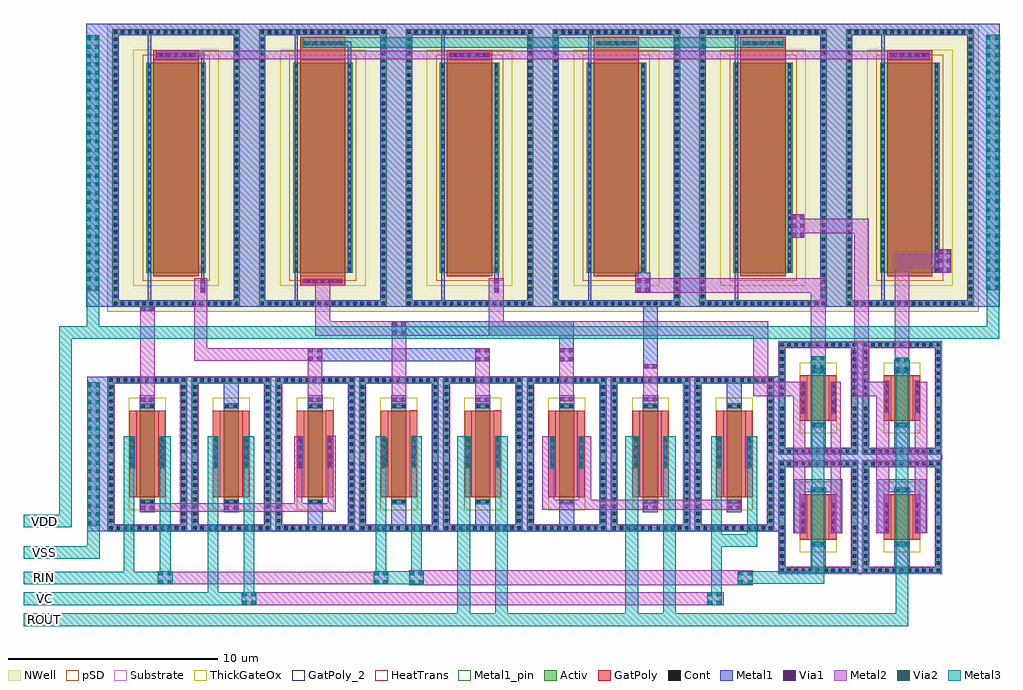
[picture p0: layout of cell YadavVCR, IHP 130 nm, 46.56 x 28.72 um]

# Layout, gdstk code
from math import pi, radians
import gdstk
lib = gdstk.Library(unit=1e-6, precision=1e-09)
def R(c, l, rs):  # rectangles x0, y0, x1, y1
    for r in rs: c.add(gdstk.rectangle(r[:2], r[2:], *l))
def A(c, l, x, y, w, h, nx, ny, dx, dy):  # array of equal rectangles
    R(c, l, [(x+i*dx, y+j*dy, x+i*dx+w, y+j*dy+h) for i in range(nx) for j in range(ny)])
def P(c, l, *ps):  # polygons
    for p in ps: c.add(gdstk.Polygon(p, *l))
Activ = (1, 0)
GatPoly = (5, 0)
GatPoly_2 = (5, 2)
Cont = (6, 0)
Metal1 = (8, 0)
Metal1_pin = (8, 2)
Metal2 = (10, 0)
pSD = (14, 0)
Via1 = (19, 0)
Via2 = (29, 0)
Metal3 = (30, 0)
NWell = (31, 0)
Substrate = (40, 0)
ThickGateOx = (44, 0)
HeatTrans = (51, 0)

pmoshv = lib.new_cell('pmosHV')
R(pmoshv, Activ, [(-1.62,-1.32,-1.32,11.32), (4.16,-1.32,4.46,11.32), (0,0,0.3,0.3), (0,0,2.84,10), (2.54,0,2.84,0.3), (-1.62,11.32,4.46,11.62)])
P(pmoshv, Activ, [(-1.62,-1.62),(-1.62,11.32),(-1.32,11.32),(-1.32,-1.32),(4.16,-1.32),(4.16,11.32),(-1.62,11.32),(-1.62,11.62),(4.46,11.62),(4.46,-1.62)])
R(pmoshv, GatPoly, [(0.34,-0.18,2.5,10.18)])
R(pmoshv, GatPoly_2, [(0.34,-0.18,2.5,10.18)])
A(pmoshv, Cont, -1.55, -1.55, 0.16, 0.16, 18, 2, 0.34, 12.94)
A(pmoshv, Cont, -1.55, -1.21, 0.16, 0.16, 1, 18, 0, 0.34)
A(pmoshv, Cont, 4.23, -1.21, 0.16, 0.16, 1, 18, 0, 0.34)
A(pmoshv, Cont, 0.07, 0.07, 0.16, 0.16, 1, 4, 0, 0.345)
A(pmoshv, Cont, 2.61, 0.07, 0.16, 0.16, 1, 4, 0, 0.345)
A(pmoshv, Cont, 0.07, 1.455, 0.16, 0.16, 1, 3, 0, 0.345)
A(pmoshv, Cont, 2.61, 1.455, 0.16, 0.16, 1, 3, 0, 0.345)
A(pmoshv, Cont, 0.07, 2.495, 0.16, 0.16, 1, 4, 0, 0.345)
A(pmoshv, Cont, 2.61, 2.495, 0.16, 0.16, 1, 4, 0, 0.345)
A(pmoshv, Cont, 0.07, 3.88, 0.16, 0.16, 1, 3, 0, 0.345)
A(pmoshv, Cont, 2.61, 3.88, 0.16, 0.16, 1, 3, 0, 0.345)
A(pmoshv, Cont, 0.07, 4.92, 0.16, 0.16, 1, 4, 0, 0.345)
A(pmoshv, Cont, 2.61, 4.92, 0.16, 0.16, 1, 4, 0, 0.345)
A(pmoshv, Cont, -1.55, 4.93, 0.16, 0.16, 1, 19, 0, 0.34)
A(pmoshv, Cont, 4.23, 4.93, 0.16, 0.16, 1, 19, 0, 0.34)
A(pmoshv, Cont, 0.07, 6.305, 0.16, 0.16, 1, 3, 0, 0.345)
A(pmoshv, Cont, 2.61, 6.305, 0.16, 0.16, 1, 3, 0, 0.345)
A(pmoshv, Cont, 0.07, 7.345, 0.16, 0.16, 1, 4, 0, 0.345)
A(pmoshv, Cont, 2.61, 7.345, 0.16, 0.16, 1, 4, 0, 0.345)
A(pmoshv, Cont, 0.07, 8.73, 0.16, 0.16, 1, 3, 0, 0.345)
A(pmoshv, Cont, 2.61, 8.73, 0.16, 0.16, 1, 3, 0, 0.345)
R(pmoshv, Cont, [(0.07,9.77,0.23,9.93), (2.61,9.77,2.77,9.93)])
R(pmoshv, Metal1, [(-1.62,-1.62,4.46,-1.32), (-1.62,-1.32,-1.32,11.32), (4.16,-1.32,4.46,11.32), (0.07,0,0.23,10), (2.61,0,2.77,10), (-1.62,11.32,4.46,11.62)])
R(pmoshv, Metal1_pin, [(0.07,0,0.23,10), (2.61,0,2.77,10)])
R(pmoshv, pSD, [(-0.18,-0.4,3.02,10.4)])
R(pmoshv, NWell, [(-1.86,-1.86,4.7,11.86), (-0.62,-0.62,3.46,10.62)])
R(pmoshv, Substrate, [(2.54,0,2.84,0.3)])
R(pmoshv, ThickGateOx, [(-0.62,-0.62,3.46,10.62)])
R(pmoshv, HeatTrans, [(0.34,-0.18,2.5,10.18)])
pmoshv.add(gdstk.Label('pmosHV', (1.42,5), layer=63, texttype=0))
pmoshv.add(gdstk.Label('well', (1.42,-1.47), layer=63, texttype=0))
pmoshv.add(gdstk.Label('pmos', (1.42,5), layer=51, texttype=0))

nmoshv = lib.new_cell('nmosHV')
R(nmoshv, Activ, [(-1.27,-1.22,-0.97,1.94), (5.79,-1.22,6.09,1.94), (0,0,0.3,0.3), (0,0,4.82,0.72), (4.52,0,4.82,0.3), (-1.27,1.94,6.09,2.24)])
P(nmoshv, Activ, [(-1.27,-1.52),(-1.27,1.94),(-0.97,1.94),(-0.97,-1.22),(5.79,-1.22),(5.79,1.94),(-1.27,1.94),(-1.27,2.24),(6.09,2.24),(6.09,-1.52)])
R(nmoshv, GatPoly, [(0.34,-0.18,4.48,0.9)])
R(nmoshv, GatPoly_2, [(0.34,-0.18,4.48,0.9)])
A(nmoshv, Cont, -1.2, -1.45, 0.16, 0.16, 10, 2, 0.34, 3.46)
A(nmoshv, Cont, 2.46, -1.45, 0.16, 0.16, 11, 2, 0.34, 3.46)
A(nmoshv, Cont, -1.2, -1.11, 0.16, 0.16, 1, 4, 0, 0.34)
A(nmoshv, Cont, 5.86, -1.11, 0.16, 0.16, 1, 4, 0, 0.34)
A(nmoshv, Cont, -1.2, 0.31, 0.16, 0.16, 1, 5, 0, 0.34)
A(nmoshv, Cont, 5.86, 0.31, 0.16, 0.16, 1, 5, 0, 0.34)
R(nmoshv, Cont, [(0.07,0.07,0.23,0.23), (4.59,0.07,4.75,0.23), (0.07,0.49,0.23,0.65), (4.59,0.49,4.75,0.65)])
R(nmoshv, Metal1, [(-1.27,-1.52,6.09,-1.22), (-1.27,-1.22,-0.97,1.94), (5.79,-1.22,6.09,1.94), (0.07,0,0.23,0.72), (4.59,0,4.75,0.72), (-1.27,1.94,6.09,2.24)])
R(nmoshv, Metal1_pin, [(0.07,0,0.23,0.72), (4.59,0,4.75,0.72)])
R(nmoshv, pSD, [(-1.3,-1.19,-0.94,1.91), (5.76,-1.19,6.12,1.91), (-1.3,1.91,6.12,2.27)])
P(nmoshv, pSD, [(-1.3,-1.55),(-1.3,1.91),(-0.94,1.91),(-0.94,-1.19),(5.76,-1.19),(5.76,1.91),(-1.3,1.91),(-1.3,2.27),(6.12,2.27),(6.12,-1.55)])
R(nmoshv, Substrate, [(-1.3,-1.19,-0.94,1.91), (5.76,-1.19,6.12,1.91), (-1.3,1.91,6.12,2.27)])
P(nmoshv, Substrate, [(-1.3,-1.55),(-1.3,1.91),(-0.94,1.91),(-0.94,-1.19),(5.76,-1.19),(5.76,1.91),(-1.3,1.91),(-1.3,2.27),(6.12,2.27),(6.12,-1.55)])
R(nmoshv, ThickGateOx, [(-0.27,-0.52,5.09,1.24)])
R(nmoshv, HeatTrans, [(0.34,-0.18,4.48,0.9)])
nmoshv.add(gdstk.Label('nmosHV', (2.41,0.36), layer=63, texttype=0))
nmoshv.add(gdstk.Label('sub!', (2.41,-1.37), layer=63, texttype=0))
nmoshv.add(gdstk.Label('nmosHV', (2.41,0.36), layer=51, texttype=0))

via_stack = lib.new_cell('via_stack')
R(via_stack, GatPoly, [(-0.83,-0.15,0.83,0.15)])
A(via_stack, Cont, -0.76, -0.08, 0.16, 0.16, 5, 1, 0.34, 0)
R(via_stack, Metal1, [(-0.965,-0.105,0.965,0.105)])
R(via_stack, Metal2, [(-0.965,-0.1,0.965,0.1)])
A(via_stack, Via1, -0.915, -0.095, 0.19, 0.19, 5, 1, 0.41, 0)

via_stack_1 = lib.new_cell('via_stack$1')
R(via_stack_1, GatPoly, [(-0.83,-0.15,0.83,0.15)])
A(via_stack_1, Cont, -0.76, -0.08, 0.16, 0.16, 5, 1, 0.34, 0)
R(via_stack_1, Metal1, [(-0.965,-0.105,0.965,0.105)])
R(via_stack_1, Metal2, [(-0.965,-0.1,0.965,0.1)])
A(via_stack_1, Via1, -0.915, -0.095, 0.19, 0.19, 5, 1, 0.41, 0)
A(via_stack_1, Via2, -0.915, -0.095, 0.19, 0.19, 5, 1, 0.41, 0)
R(via_stack_1, Metal3, [(-0.965,-0.1,0.965,0.1)])

via_stack_16 = lib.new_cell('via_stack$16')
R(via_stack_16, Metal1, [(-0.31,-6.09,0.31,6.09)])
R(via_stack_16, Metal2, [(-0.305,-6.09,0.305,6.09)])
A(via_stack_16, Via1, -0.3, -6.04, 0.19, 0.19, 1, 30, 0, 0.41)
A(via_stack_16, Via1, 0.11, -6.04, 0.19, 0.19, 1, 30, 0, 0.41)
A(via_stack_16, Via2, -0.3, -6.04, 0.19, 0.19, 1, 30, 0, 0.41)
A(via_stack_16, Via2, 0.11, -6.04, 0.19, 0.19, 1, 30, 0, 0.41)
R(via_stack_16, Metal3, [(-0.305,-6.09,0.305,6.09)])

via_stack_5 = lib.new_cell('via_stack$5')
R(via_stack_5, Metal1, [(-0.31,-3.425,0.31,3.425)])
R(via_stack_5, Metal2, [(-0.305,-3.425,0.305,3.425)])
A(via_stack_5, Via1, -0.3, -3.375, 0.19, 0.19, 1, 17, 0, 0.41)
A(via_stack_5, Via1, 0.11, -3.375, 0.19, 0.19, 1, 17, 0, 0.41)
A(via_stack_5, Via2, -0.3, -3.375, 0.19, 0.19, 1, 17, 0, 0.41)
A(via_stack_5, Via2, 0.11, -3.375, 0.19, 0.19, 1, 17, 0, 0.41)
R(via_stack_5, Metal3, [(-0.305,-3.425,0.305,3.425)])

via_stack_7 = lib.new_cell('via_stack$7')
R(via_stack_7, Metal1, [(-0.35,-0.105,0.35,0.105)])
R(via_stack_7, Metal2, [(-0.35,-0.1,0.35,0.1)])
R(via_stack_7, Via1, [(-0.3,-0.095,-0.11,0.095), (0.11,-0.095,0.3,0.095)])

via_stack_12 = lib.new_cell('via_stack$12')
R(via_stack_12, GatPoly, [(-0.15,-0.66,0.15,0.66)])
A(via_stack_12, Cont, -0.08, -0.59, 0.16, 0.16, 1, 4, 0, 0.34)
R(via_stack_12, Metal1, [(-0.105,-0.76,0.105,0.76)])
R(via_stack_12, Metal2, [(-0.1,-0.76,0.1,0.76)])
A(via_stack_12, Via1, -0.095, -0.71, 0.19, 0.19, 1, 4, 0, 0.41)

via_stack_18 = lib.new_cell('via_stack$18')
R(via_stack_18, Activ, [(-0.15,-0.66,0.15,0.66)])
A(via_stack_18, Cont, -0.08, -0.59, 0.16, 0.16, 1, 4, 0, 0.34)
R(via_stack_18, Metal1, [(-0.105,-0.76,0.105,0.76)])
R(via_stack_18, Metal2, [(-0.1,-0.76,0.1,0.76)])
A(via_stack_18, Via1, -0.095, -0.71, 0.19, 0.19, 1, 4, 0, 0.41)
A(via_stack_18, Via2, -0.095, -0.71, 0.19, 0.19, 1, 4, 0, 0.41)
R(via_stack_18, Metal3, [(-0.1,-0.76,0.1,0.76)])

via_stack_17 = lib.new_cell('via_stack$17')
R(via_stack_17, GatPoly, [(-0.15,-0.66,0.15,0.66)])
A(via_stack_17, Cont, -0.08, -0.59, 0.16, 0.16, 1, 4, 0, 0.34)
R(via_stack_17, Metal1, [(-0.105,-0.76,0.105,0.76)])
R(via_stack_17, Metal2, [(-0.1,-0.76,0.1,0.76)])
A(via_stack_17, Via1, -0.095, -0.71, 0.19, 0.19, 1, 4, 0, 0.41)
A(via_stack_17, Via2, -0.095, -0.71, 0.19, 0.19, 1, 4, 0, 0.41)
R(via_stack_17, Metal3, [(-0.1,-0.76,0.1,0.76)])

via_stack_8 = lib.new_cell('via_stack$8')
R(via_stack_8, Metal1, [(-0.105,-0.76,0.105,0.76)])
R(via_stack_8, Metal2, [(-0.1,-0.76,0.1,0.76)])
A(via_stack_8, Via1, -0.095, -0.71, 0.19, 0.19, 1, 4, 0, 0.41)
A(via_stack_8, Via2, -0.095, -0.71, 0.19, 0.19, 1, 4, 0, 0.41)
R(via_stack_8, Metal3, [(-0.1,-0.76,0.1,0.76)])

via_stack_10 = lib.new_cell('via_stack$10')
R(via_stack_10, Metal2, [(-0.35,-0.305,0.35,0.305)])
R(via_stack_10, Via2, [(-0.3,-0.3,-0.11,-0.11), (0.11,-0.3,0.3,-0.11), (-0.3,0.11,-0.11,0.3), (0.11,0.11,0.3,0.3)])
R(via_stack_10, Metal3, [(-0.35,-0.305,0.35,0.305)])

nmoshv_1 = lib.new_cell('nmosHV$1')
R(nmoshv_1, Activ, [(-1.27,-1.22,-0.97,1.94), (3.81,-1.22,4.11,1.94), (0,0,0.3,0.3), (0,0,2.84,0.72), (2.54,0,2.84,0.3), (-1.27,1.94,4.11,2.24)])
P(nmoshv_1, Activ, [(-1.27,-1.52),(-1.27,1.94),(-0.97,1.94),(-0.97,-1.22),(3.81,-1.22),(3.81,1.94),(-1.27,1.94),(-1.27,2.24),(4.11,2.24),(4.11,-1.52)])
R(nmoshv_1, GatPoly, [(0.34,-0.18,2.5,0.9)])
R(nmoshv_1, GatPoly_2, [(0.34,-0.18,2.5,0.9)])
A(nmoshv_1, Cont, -1.2, -1.45, 0.16, 0.16, 7, 2, 0.34, 3.46)
A(nmoshv_1, Cont, 1.5, -1.45, 0.16, 0.16, 8, 2, 0.34, 3.46)
A(nmoshv_1, Cont, -1.2, -1.11, 0.16, 0.16, 1, 4, 0, 0.34)
A(nmoshv_1, Cont, 3.88, -1.11, 0.16, 0.16, 1, 4, 0, 0.34)
A(nmoshv_1, Cont, -1.2, 0.31, 0.16, 0.16, 1, 5, 0, 0.34)
A(nmoshv_1, Cont, 3.88, 0.31, 0.16, 0.16, 1, 5, 0, 0.34)
R(nmoshv_1, Cont, [(0.07,0.07,0.23,0.23), (2.61,0.07,2.77,0.23), (0.07,0.49,0.23,0.65), (2.61,0.49,2.77,0.65)])
R(nmoshv_1, Metal1, [(-1.27,-1.52,4.11,-1.22), (-1.27,-1.22,-0.97,1.94), (3.81,-1.22,4.11,1.94), (0.07,0,0.23,0.72), (2.61,0,2.77,0.72), (-1.27,1.94,4.11,2.24)])
R(nmoshv_1, Metal1_pin, [(0.07,0,0.23,0.72), (2.61,0,2.77,0.72)])
R(nmoshv_1, pSD, [(-1.3,-1.19,-0.94,1.91), (3.78,-1.19,4.14,1.91), (-1.3,1.91,4.14,2.27)])
P(nmoshv_1, pSD, [(-1.3,-1.55),(-1.3,1.91),(-0.94,1.91),(-0.94,-1.19),(3.78,-1.19),(3.78,1.91),(-1.3,1.91),(-1.3,2.27),(4.14,2.27),(4.14,-1.55)])
R(nmoshv_1, Substrate, [(-1.3,-1.19,-0.94,1.91), (3.78,-1.19,4.14,1.91), (-1.3,1.91,4.14,2.27)])
P(nmoshv_1, Substrate, [(-1.3,-1.55),(-1.3,1.91),(-0.94,1.91),(-0.94,-1.19),(3.78,-1.19),(3.78,1.91),(-1.3,1.91),(-1.3,2.27),(4.14,2.27),(4.14,-1.55)])
R(nmoshv_1, ThickGateOx, [(-0.27,-0.52,3.11,1.24)])
R(nmoshv_1, HeatTrans, [(0.34,-0.18,2.5,0.9)])
nmoshv_1.add(gdstk.Label('nmosHV', (1.42,0.36), layer=63, texttype=0))
nmoshv_1.add(gdstk.Label('sub!', (1.42,-1.37), layer=63, texttype=0))
nmoshv_1.add(gdstk.Label('nmosHV', (1.42,0.36), layer=51, texttype=0))

via_stack_11 = lib.new_cell('via_stack$11')
R(via_stack_11, Metal1, [(-0.35,-0.31,0.35,0.31)])
R(via_stack_11, Metal2, [(-0.35,-0.305,0.35,0.305)])
R(via_stack_11, Via1, [(-0.3,-0.3,-0.11,-0.11), (0.11,-0.3,0.3,-0.11), (-0.3,0.11,-0.11,0.3), (0.11,0.11,0.3,0.3)])

via_stack_15 = lib.new_cell('via_stack$15')
R(via_stack_15, Metal1, [(-0.35,-0.31,0.35,0.31)])
R(via_stack_15, Metal2, [(-0.35,-0.305,0.35,0.305)])
R(via_stack_15, Via1, [(-0.3,-0.3,-0.11,-0.11), (0.11,-0.3,0.3,-0.11), (-0.3,0.11,-0.11,0.3), (0.11,0.11,0.3,0.3)])
R(via_stack_15, Via2, [(-0.3,-0.3,-0.11,-0.11), (0.11,-0.3,0.3,-0.11), (-0.3,0.11,-0.11,0.3), (0.11,0.11,0.3,0.3)])
R(via_stack_15, Metal3, [(-0.35,-0.305,0.35,0.305)])

via_stack_4 = lib.new_cell('via_stack$4')
R(via_stack_4, Metal1, [(-0.105,-0.35,0.105,0.35)])
R(via_stack_4, Metal2, [(-0.1,-0.35,0.1,0.35)])
R(via_stack_4, Via1, [(-0.095,-0.3,0.095,-0.11), (-0.095,0.11,0.095,0.3)])

via_stack_13 = lib.new_cell('via_stack$13')
R(via_stack_13, Metal1, [(-0.31,-0.555,0.31,0.555)])
R(via_stack_13, Metal2, [(-0.305,-0.555,0.305,0.555)])
A(via_stack_13, Via1, -0.3, -0.505, 0.19, 0.19, 1, 3, 0, 0.41)
A(via_stack_13, Via1, 0.11, -0.505, 0.19, 0.19, 1, 3, 0, 0.41)

yadavvcr = lib.new_cell('YadavVCR')
A(yadavvcr, GatPoly, 9.04, -8.86, 0.33, 4.14, 4, 1, 4, 0)
A(yadavvcr, GatPoly, 10.45, -8.85, 0.33, 4.14, 3, 1, 4, 0)
R(yadavvcr, GatPoly, [(33.04,-10.88,33.37,-8.72), (34.45,-10.88,34.78,-8.72), (37.04,-10.88,37.37,-8.72), (38.45,-10.88,38.78,-8.72), (1.04,-8.86,1.37,-4.72), (2.45,-8.86,2.78,-4.72), (5.04,-8.86,5.37,-4.72), (6.45,-8.86,6.78,-4.72), (22.45,-8.86,22.78,-4.72), (25.04,-8.86,25.37,-4.72), (26.45,-8.86,26.78,-4.72), (29.04,-8.86,29.37,-4.72), (30.45,-8.86,30.78,-4.72), (33.04,-5.2,33.37,-3.04), (34.45,-5.2,34.78,-3.04), (37.04,-5.2,37.37,-3.04), (38.45,-5.2,38.78,-3.04), (9.2,1.25,11.36,1.68), (2.2,12.04,4.36,12.47), (9.2,12.04,11.36,13.1), (16.2,12.04,18.36,12.47), (23.2,12.04,25.36,13.1), (30.2,12.04,32.36,13.1), (37.2,12.04,39.36,12.47)])
A(yadavvcr, Metal1, 3.79, -10.47, 0.24, 7.36, 8, 1, 4, 0)
A(yadavvcr, Metal1, 9.55, -10.17, 0.72, 1.2, 4, 1, 4, 0)
A(yadavvcr, Metal1, 9.55, -4.61, 0.72, 0.61, 3, 1, 4, 0)
A(yadavvcr, Metal1, 1.93, 0.54, 0.16, 12.64, 6, 1, 7, 0)
A(yadavvcr, Metal1, 6.32, 0.54, 0.92, 12.94, 5, 1, 7, 0)
R(yadavvcr, Metal1, [(35.79,-12.49,36.03,-1.43), (33.55,-12.19,34.27,-10.99), (37.55,-12.19,38.27,-10.99), (32.76,-10.58,33.31,-8), (32.76,-10.58,33.31,-8), (34.51,-10.58,35.06,-8), (34.51,-10.58,35.06,-8), (36.76,-10.58,37.31,-8), (38.51,-10.58,39.06,-8), (-0.97,-10.47,0.03,-3.11), (1.55,-9.58,2.27,-8.97), (5.55,-9.58,6.27,-8.97), (25.54,-9.58,26.26,-8.97), (29.55,-9.58,30.27,-8.97), (33.31,-8.61,33.55,-8), (33.31,-8.61,33.55,-8), (33.55,-8.61,34.27,-8), (34.27,-8.61,34.51,-8), (34.27,-8.61,34.51,-8), (37.31,-8.61,37.55,-8), (37.55,-8.61,38.27,-8), (38.27,-8.61,38.51,-8), (32.03,-7.11,35.79,-6.81), (36.03,-7.11,39.79,-6.81), (33.55,-6.51,34.28,-5.31), (37.55,-6.51,38.27,-5.31), (1.55,-4.61,2.27,-4), (5.55,-4.61,6.27,-3.41), (29.55,-4.61,30.27,-3.41), (21.55,-4.6,22.27,-3.99), (25.55,-4.6,26.27,-3.99), (33.55,-2.93,34.27,-2.32), (37.55,-2.93,38.27,-2.32), (25.56,-2.71,26.26,0.54), (9.56,-2.37,18.25,-1.74), (-1,0.24,0.24,13.48), (0.24,0.24,41.32,0.54), (41.32,0.24,42.56,13.48), (25.195,1.55,25.895,1.86), (18.45,1.59,18.66,1.86), (-1,13.48,42.56,13.72)])
P(yadavvcr, Metal1, [(4.47,11.86),(4.47,12.13),(4.24,12.13),(4.24,12.34),(4.63,12.34),(4.63,11.86)],
  [(11.47,11.86),(11.47,12.695),(11.25,12.695),(11.25,12.905),(11.63,12.905),(11.63,11.86)])
R(yadavvcr, Metal2, [(6.5,-14,29.41,-13.4), (32.73,-10.58,33.305,-3.35), (34.515,-10.58,34.98,-3.35), (36.69,-10.58,37.305,-3.35), (38.51,-10.58,39.125,-3.35), (20.74,-9.45,30.21,-8.98), (20.74,-8.98,21.325,-5.95), (22.5,-8.98,23.085,-5.95), (33.305,-7.41,34.515,-6.51), (37.3,-7.41,38.51,-6.51), (17.55,-4.3,18.25,-2.36), (1.56,-4.295,2.26,0.235), (9.56,-4.295,10.26,-2.355), (21.56,-4.285,22.25,-1.755), (25.56,-4.285,26.26,-2.505)])
P(yadavvcr, Metal2, [(14.21,-4.29),(14.21,-4.29),(14.21,-4.29),(14.21,-4.29)])
A(yadavvcr, pSD, 3.82, -10.5, 0.18, 7.42, 8, 1, 4, 0)
R(yadavvcr, pSD, [(35.82,-12.52,36,-1.4), (32,-7.08,35.82,-6.84), (36,-7.08,39.82,-6.84)])
R(yadavvcr, Metal3, [(0,-15,38.21,-14.4), (16.7,-14.4,17.305,-5.95), (18.5,-14.4,19.105,-5.95), (24.71,-14.4,25.315,-5.95), (26.51,-14.4,27.115,-5.95), (4.79,-13.4,5.295,-5.95), (4.79,-13.4,5.295,-5.95), (6.5,-13.4,7.005,-5.95), (6.5,-13.4,7.005,-5.95), (28.8,-13.4,29.305,-5.95), (12.7,-13,15.1,-12.39), (0.79,-12.4,1.295,-5.95), (2.51,-12.4,3.015,-5.95), (12.8,-12.4,13.305,-5.95), (14.5,-12.4,15.005,-5.95), (29.305,-11.23,30.515,-10.63), (30.515,-11.23,31.015,-5.95)])
R(yadavvcr, NWell, [(0,0,41.56,13.72)])
yadavvcr.add(gdstk.FlexPath([(4.55,1.86),(4.55,1.59)], 0.16, ends="flush", simple_path=True, layer=8, datatype=0))  # Metal1
yadavvcr.add(gdstk.FlexPath([(13.56,-0.8),(21.9,-0.8),(21.9,-2.37),(21.9,-2.37)], 0.7, ends="flush", simple_path=True, layer=8, datatype=0))  # Metal1
yadavvcr.add(gdstk.FlexPath([(2.31,12.235),(39.24,12.235)], 0.4, ends="flush", simple_path=True, layer=10, datatype=0))  # Metal2
yadavvcr.add(gdstk.FlexPath([(1.56,-9.355),(6.26,-9.355)], 0.4, ends="flush", simple_path=True, layer=10, datatype=0))  # Metal2
yadavvcr.add(gdstk.FlexPath([(10.275,1.345),(10.275,-0.8),(14.26,-0.8)], 0.7, ends="flush", simple_path=True, layer=10, datatype=0))  # Metal2
yadavvcr.add(gdstk.FlexPath([(6.26,-9.355),(9.105,-9.355),(9.105,-5.95)], 0.4, ends="flush", simple_path=True, layer=10, datatype=0))  # Metal2
yadavvcr.add(gdstk.FlexPath([(9.305,-9.35),(10.705,-9.35),(10.705,-5.93)], 0.4, ends="flush", simple_path=True, layer=10, datatype=0))  # Metal2
yadavvcr.add(gdstk.FlexPath([(2.41,-12.7),(13.4,-12.7)], 0.6, ends="flush", simple_path=True, layer=10, datatype=0))  # Metal2
yadavvcr.add(gdstk.FlexPath([(18.555,1.59),(18.555,-0.8),(31.17,-0.8),(31.17,-3.7),(33.305,-3.7)], 0.7, ends="flush", simple_path=True, layer=10, datatype=0))  # Metal2
yadavvcr.add(gdstk.FlexPath([(4.455,1.59),(4.455,-2.05),(10.25,-2.05),(10.25,-2.05)], 0.6, ends="flush", simple_path=True, layer=10, datatype=0))  # Metal2
yadavvcr.add(gdstk.FlexPath([(13.91,-4.295),(13.91,-1.15)], 0.7, ends="flush", simple_path=True, layer=10, datatype=0))  # Metal2
yadavvcr.add(gdstk.FlexPath([(14.4,-12.695),(30.78,-12.695)], 0.7, ends="flush", simple_path=True, layer=10, datatype=0))  # Metal2
yadavvcr.add(gdstk.FlexPath([(32.635,4.085),(35.97,4.085),(35.97,-3.69),(37.305,-3.69)], 0.7, ends="flush", simple_path=True, layer=10, datatype=0))  # Metal2
yadavvcr.add(gdstk.FlexPath([(37.91,-2.82),(37.91,2.415),(40.24,2.415)], 0.7, ends="flush", simple_path=True, layer=10, datatype=0))  # Metal2
yadavvcr.add(gdstk.FlexPath([(25.195,1.24),(33.91,1.24),(33.91,-2.735)], 0.7, ends="flush", simple_path=True, layer=10, datatype=0))  # Metal2
yadavvcr.add(gdstk.FlexPath([(0,-13.7),(-4,-13.7)], 0.6, ends="flush", simple_path=True, layer=30, datatype=0))  # Metal3
yadavvcr.add(gdstk.FlexPath([(9.32,12.83),(32.25,12.83)], 0.5, ends="flush", simple_path=True, layer=30, datatype=0))  # Metal3
yadavvcr.add(gdstk.FlexPath([(-0.66,-10.22),(-0.66,-11.5),(-2.5,-11.5)], 0.6, ends="flush", simple_path=True, layer=30, datatype=0))  # Metal3
yadavvcr.add(gdstk.FlexPath([(0,-12.7),(3.11,-12.7),(3.11,-12.7)], 0.6, ends="flush", simple_path=True, layer=30, datatype=0))  # Metal3
yadavvcr.add(gdstk.FlexPath([(0,-13.7),(7.1,-13.7)], 0.6, ends="flush", simple_path=True, layer=30, datatype=0))  # Metal3
yadavvcr.add(gdstk.FlexPath([(-0.69,-1),(42.24,-1),(42.24,1.02)], 0.6, ends="flush", simple_path=True, layer=30, datatype=0))  # Metal3
yadavvcr.add(gdstk.FlexPath([(37.91,-2.82),(37.91,-14.4)], 0.6, ends="flush", simple_path=True, layer=30, datatype=0))  # Metal3
yadavvcr.add(gdstk.FlexPath([(30.08,-12.695),(33.91,-12.695),(33.91,-2.735)], 0.6, ends="flush", simple_path=True, layer=30, datatype=0))  # Metal3
yadavvcr.add(gdstk.FlexPath([(-0.69,1),(-0.69,-1),(-2,-1),(-2,-10),(-4,-10)], 0.6, ends="flush", simple_path=True, layer=30, datatype=0))  # Metal3
yadavvcr.add(gdstk.FlexPath([(-2.5,-11.5),(-4,-11.5),(-4,-11.5)], 0.6, ends="flush", simple_path=True, layer=30, datatype=0))  # Metal3
yadavvcr.add(gdstk.FlexPath([(0,-12.7),(-4,-12.7)], 0.6, ends="flush", simple_path=True, layer=30, datatype=0))  # Metal3
yadavvcr.add(gdstk.FlexPath([(0,-14.7),(-4,-14.7)], 0.6, ends="flush", simple_path=True, layer=30, datatype=0))  # Metal3
yadavvcr.add(gdstk.Reference(pmoshv, (1.86,1.86)))
yadavvcr.add(gdstk.Reference(pmoshv, (8.86,1.86)))
yadavvcr.add(gdstk.Reference(pmoshv, (29.86,1.86)))
yadavvcr.add(gdstk.Reference(pmoshv, (22.86,1.86)))
yadavvcr.add(gdstk.Reference(pmoshv, (15.86,1.86)))
yadavvcr.add(gdstk.Reference(pmoshv, (36.86,1.86)))
yadavvcr.add(gdstk.Reference(nmoshv, (22.27,-9.2), rotation=pi/2))
yadavvcr.add(gdstk.Reference(nmoshv, (18.27,-9.2), rotation=pi/2))
yadavvcr.add(gdstk.Reference(nmoshv, (14.27,-9.2), rotation=pi/2))
yadavvcr.add(gdstk.Reference(nmoshv, (2.27,-9.2), rotation=pi/2))
yadavvcr.add(gdstk.Reference(nmoshv, (6.27,-9.2), rotation=pi/2))
yadavvcr.add(gdstk.Reference(nmoshv, (30.27,-9.2), rotation=pi/2))
yadavvcr.add(gdstk.Reference(via_stack, (17.275,12.235)))
yadavvcr.add(gdstk.Reference(via_stack, (38.275,12.235)))
yadavvcr.add(gdstk.Reference(via_stack_1, (10.285,12.8)))
yadavvcr.add(gdstk.Reference(via_stack, (3.275,12.235)))
yadavvcr.add(gdstk.Reference(via_stack_1, (24.285,12.8)))
yadavvcr.add(gdstk.Reference(via_stack_1, (31.285,12.8)))
yadavvcr.add(gdstk.Reference(via_stack_16, (42.24,7.11)))
yadavvcr.add(gdstk.Reference(via_stack_5, (-0.66,-6.795)))
yadavvcr.add(gdstk.Reference(via_stack_7, (1.91,-4.195)))
yadavvcr.add(gdstk.Reference(via_stack_7, (1.91,0.135)))
yadavvcr.add(gdstk.Reference(via_stack_7, (1.91,-9.355)))
yadavvcr.add(gdstk.Reference(via_stack_7, (5.91,-9.355)))
yadavvcr.add(gdstk.Reference(via_stack_12, (9.205,-6.71)))
yadavvcr.add(gdstk.Reference(nmoshv, (10.27,-9.2), rotation=pi/2))
yadavvcr.add(gdstk.Reference(via_stack_18, (2.605,-6.71)))
yadavvcr.add(gdstk.Reference(via_stack_17, (1.195,-6.71)))
yadavvcr.add(gdstk.Reference(via_stack_8, (6.605,-6.71)))
yadavvcr.add(gdstk.Reference(via_stack_8, (5.195,-6.71)))
yadavvcr.add(gdstk.Reference(via_stack_10, (2.76,-12.7)))
yadavvcr.add(gdstk.Reference(via_stack_17, (5.195,-6.71)))
yadavvcr.add(gdstk.Reference(via_stack_17, (6.605,-6.71)))
yadavvcr.add(gdstk.Reference(via_stack_10, (6.75,-13.685)))
yadavvcr.add(gdstk.Reference(via_stack_7, (9.91,-4.195)))
yadavvcr.add(gdstk.Reference(via_stack_12, (10.605,-6.69)))
yadavvcr.add(gdstk.Reference(via_stack_17, (17.205,-6.71)))
yadavvcr.add(gdstk.Reference(via_stack_17, (18.605,-6.69)))
yadavvcr.add(gdstk.Reference(via_stack_18, (13.205,-6.71)))
yadavvcr.add(gdstk.Reference(via_stack_17, (14.605,-6.69)))
yadavvcr.add(gdstk.Reference(via_stack_10, (13.05,-12.695)))
yadavvcr.add(gdstk.Reference(via_stack, (10.275,1.445)))
yadavvcr.add(gdstk.Reference(nmoshv_1, (38.27,-5.54), rotation=pi/2))
yadavvcr.add(gdstk.Reference(nmoshv_1, (34.27,-5.54), rotation=pi/2))
yadavvcr.add(gdstk.Reference(nmoshv_1, (34.27,-11.22), rotation=pi/2))
yadavvcr.add(gdstk.Reference(nmoshv, (26.27,-9.2), rotation=pi/2))
yadavvcr.add(gdstk.Reference(nmoshv_1, (38.27,-11.22), rotation=pi/2))
yadavvcr.add(gdstk.Reference(via_stack_7, (13.91,-4.195)))
yadavvcr.add(gdstk.Reference(via_stack_7, (17.91,-4.195)))
yadavvcr.add(gdstk.Reference(via_stack_11, (9.91,-2.05)))
yadavvcr.add(gdstk.Reference(via_stack_11, (17.9,-2.06)))
yadavvcr.add(gdstk.Reference(via_stack_10, (28.96,-13.695)))
yadavvcr.add(gdstk.Reference(via_stack_7, (21.91,-4.185)))
yadavvcr.add(gdstk.Reference(via_stack_17, (25.205,-6.71)))
yadavvcr.add(gdstk.Reference(via_stack_17, (22.605,-6.71)))
yadavvcr.add(gdstk.Reference(via_stack_17, (21.225,-6.71)))
yadavvcr.add(gdstk.Reference(via_stack_17, (26.615,-6.71)))
yadavvcr.add(gdstk.Reference(via_stack_17, (29.205,-6.71)))
yadavvcr.add(gdstk.Reference(via_stack_17, (30.615,-6.71)))
yadavvcr.add(gdstk.Reference(via_stack_7, (29.91,-9.355)))
yadavvcr.add(gdstk.Reference(via_stack_7, (25.9,-9.355)))
yadavvcr.add(gdstk.Reference(via_stack_7, (25.91,-4.185)))
yadavvcr.add(gdstk.Reference(via_stack_7, (25.91,-2.605)))
yadavvcr.add(gdstk.Reference(via_stack_12, (33.205,-4.11)))
yadavvcr.add(gdstk.Reference(via_stack_12, (34.615,-4.11)))
yadavvcr.add(gdstk.Reference(via_stack_12, (33.205,-9.82)))
yadavvcr.add(gdstk.Reference(via_stack_12, (34.615,-9.82)))
yadavvcr.add(gdstk.Reference(via_stack_12, (38.615,-4.06)))
yadavvcr.add(gdstk.Reference(via_stack_12, (37.205,-4.06)))
yadavvcr.add(gdstk.Reference(via_stack_15, (33.91,-2.43)))
yadavvcr.add(gdstk.Reference(via_stack_15, (37.91,-2.515)))
yadavvcr.add(gdstk.Reference(via_stack_4, (4.555,1.24)))
yadavvcr.add(gdstk.Reference(via_stack_4, (18.555,1.24)))
yadavvcr.add(gdstk.Reference(via_stack_11, (21.9,-2.06)))
yadavvcr.add(gdstk.Reference(via_stack_11, (13.91,-0.8)))
yadavvcr.add(gdstk.Reference(via_stack_11, (25.545,1.24)))
yadavvcr.add(gdstk.Reference(via_stack_13, (32.94,4.085)))
yadavvcr.add(gdstk.Reference(via_stack_13, (39.94,2.415)))
yadavvcr.add(gdstk.Reference(via_stack_10, (14.75,-12.695)))
yadavvcr.add(gdstk.Reference(via_stack_10, (30.43,-12.695)))
yadavvcr.add(gdstk.Reference(via_stack_16, (-0.69,7.09)))
yadavvcr.add(gdstk.Reference(via_stack_12, (38.615,-9.82)))
yadavvcr.add(gdstk.Reference(via_stack_12, (37.205,-9.82)))
yadavvcr.add(gdstk.Label('VDD', (-3,-10), layer=30, texttype=25))
yadavvcr.add(gdstk.Label('VSS', (-3,-11.5), layer=30, texttype=25))
yadavvcr.add(gdstk.Label('RIN', (-3,-12.7), layer=30, texttype=25))
yadavvcr.add(gdstk.Label('VC', (-3,-13.7), layer=30, texttype=25))
yadavvcr.add(gdstk.Label('ROUT', (-3,-14.7), layer=30, texttype=25))

lib.write_gds('YadavVCR.gds')
